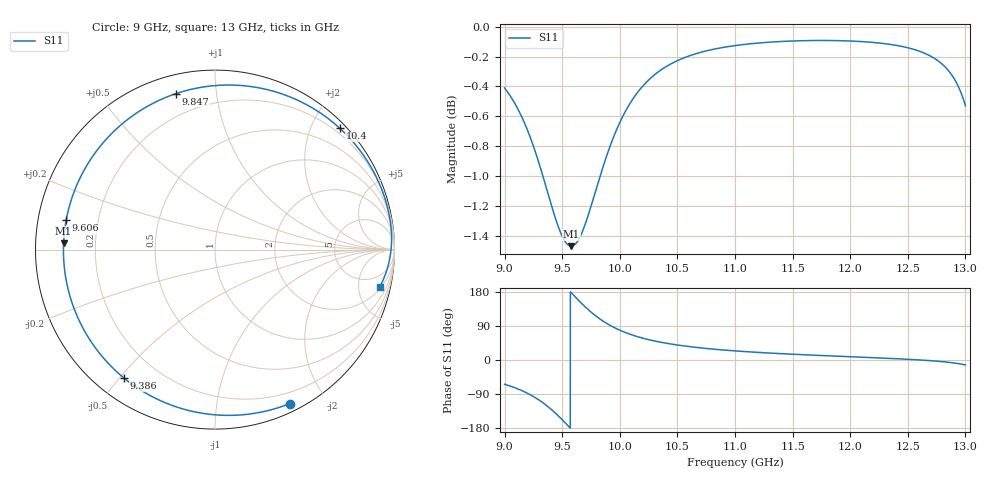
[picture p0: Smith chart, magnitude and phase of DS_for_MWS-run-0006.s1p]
! TOUCHSTONE file generated by CST DESIGN STUDIO
! Date and time: Tue Feb  4 14:11:50 2025
! Project name: C:\Work\MatlabApps\UnitCellOptimizationMatlab\CST\unitcell.cst
! Tree item: Tasks\Sweep1\SPara1\S-Parameters
! Header version: 2024
! Port assignment regex: !\s*Touchstone port\s*([0-9]+)\s*=\s*(CST MWS port|CST DES external port|CST DES block port)\s*(.+)\s* \(\"(.*)\"\)(\s*mode\s*([0-9]+))?.*
! Touchstone port assignment:
! Touchstone port 1 = CST DES external port 1 ("")
# GHz S MA R 50
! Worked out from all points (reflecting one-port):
!   4001 points, 9 GHz to 13 GHz, reference 50 ohm
!   lowest |S11| = -1.5 dB at 9.578 GHz (marker M1), VSWR 11.86, Z = 4.22 + j1 ohm
!   phase of S11 starts at -64 deg and turns -309 deg over the sweep
!   S11 on the Smith chart (normalised r, x): 9 GHz: 0.08, -1.60; 9.386 GHz: 0.08, -0.51; 9.606 GHz: 0.08, +0.10; 9.847 GHz: 0.09, +0.78; 10.4 GHz: 0.11, +2.46; 13 GHz: 2.24, -8.22
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9  0.9539 -64.0
9.114  0.9387 -76.2
9.232  0.9162 -93.3
9.313  0.8964 -108.6
9.386  0.8768 -125.5
9.441  0.8628 -140.2
9.5  0.8509 -157.6
9.54  0.846 -170.2
9.578  0.8444 177.7
9.606  0.8453 168.7
9.663  0.8518 151.0
9.729  0.8656 132.1
9.786  0.88 117.6
9.847  0.8958 104.1
9.917  0.9124 91.1
10  0.9288 78.6
10.087  0.9424 68.2
10.182  0.9535 59.1
10.287  0.9626 51.2
10.405  0.9698 44.2
10.5  0.9741 39.6
10.72  0.9808 31.4
11  0.9855 24.0
11.5  0.989 15.2
12  0.989 8.7
12.5  0.9839 1.9
12.795  0.9718 -4.2
13  0.9409 -12.9
